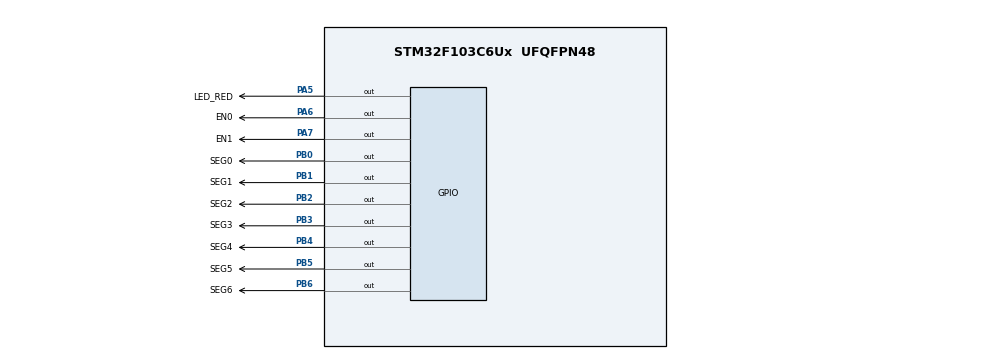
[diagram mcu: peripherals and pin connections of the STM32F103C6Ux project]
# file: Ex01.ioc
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Mcu.Family=STM32F1
Mcu.Name=STM32F103C6Ux
Mcu.Package=UFQFPN48
NVIC.PriorityGroup=NVIC_PRIORITYGROUP_4
NVIC.TIM2_IRQn=true\:0\:0\:false\:false\:true\:true\:true
PA5.GPIO_Label=LED_RED
PA5.Signal=GPIO_Output
PA6.GPIO_Label=EN0
PA6.Signal=GPIO_Output
PA7.GPIO_Label=EN1
PA7.Signal=GPIO_Output
PB0.GPIO_Label=SEG0
PB0.Signal=GPIO_Output
PB1.GPIO_Label=SEG1
PB1.Signal=GPIO_Output
PB2.GPIO_Label=SEG2
PB2.Signal=GPIO_Output
PB3.GPIO_Label=SEG3
PB3.Signal=GPIO_Output
PB4.GPIO_Label=SEG4
PB4.Signal=GPIO_Output
PB5.GPIO_Label=SEG5
PB5.Signal=GPIO_Output
PB6.GPIO_Label=SEG6
PB6.Signal=GPIO_Output
ProjectManager.HeapSize=0x200
ProjectManager.StackSize=0x400
ProjectManager.TargetToolchain=STM32CubeIDE
RCC.APB1Freq_Value=8000000
RCC.APB2Freq_Value=8000000
TIM2.Period=9
TIM2.Prescaler=7999
VP_SYS_VS_ND.Mode=No_Debug
VP_TIM2_VS_ClockSourceINT.Mode=Internal
board=custom

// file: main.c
/* USER CODE BEGIN Header */
/**
  ******************************************************************************
  * @file           : main.c
  * @brief          : Main program body
  ******************************************************************************
  * @attention
  *
  * <h2><center>&copy; Copyright (c) 2024 STMicroelectronics.
  * All rights reserved.</center></h2>
  *
  * This software component is licensed by ST under BSD 3-Clause license,
  * the "License"; You may not use this file except in compliance with the
  * License. You may obtain a copy of the License at:
  *                        opensource.org/licenses/BSD-3-Clause
  *
  ******************************************************************************
  */
/* USER CODE END Header */
#include "main.h"

TIM_HandleTypeDef htim2;
/* USER CODE BEGIN PV */
int led_buffer[2] = {1, 2};  // Store the numbers for two displays (1 and 2)
int current_display = 1;     // To track which display is currently active
int counter = 50;           // Timer counter for 0.5 second
/* USER CODE END PV */

void SystemClock_Config(void);
static void MX_GPIO_Init(void);
static void MX_TIM2_Init(void);
/* USER CODE BEGIN PFP */
void display7SEG(int);
void update7SEG(int);
/* USER CODE END PFP */

int main(void)
{

  /* MCU Configuration--------------------------------------------------------*/

  /* Reset of all peripherals, Initializes the Flash interface and the Systick. */
  HAL_Init();

  /* Configure the system clock */
  SystemClock_Config();

  /* Initialize all configured peripherals */
  MX_GPIO_Init();
  MX_TIM2_Init();
  /* USER CODE BEGIN 2 */
  HAL_TIM_Base_Start_IT(&htim2);
  /* USER CODE END 2 */

  /* Infinite loop */
  while (1)
  {

  }
}

void SystemClock_Config(void)
{
  RCC_OscInitTypeDef RCC_OscInitStruct = {0};
  RCC_ClkInitTypeDef RCC_ClkInitStruct = {0};

  /** Initializes the RCC Oscillators according to the specified parameters
  * in the RCC_OscInitTypeDef structure.
  */
  RCC_OscInitStruct.OscillatorType = RCC_OSCILLATORTYPE_HSI;
  RCC_OscInitStruct.HSIState = RCC_HSI_ON;
  RCC_OscInitStruct.HSICalibrationValue = RCC_HSICALIBRATION_DEFAULT;
  RCC_OscInitStruct.PLL.PLLState = RCC_PLL_NONE;
  if (HAL_RCC_OscConfig(&RCC_OscInitStruct) != HAL_OK)
  {
    Error_Handler();
  }
  /** Initializes the CPU, AHB and APB buses clocks
  */
  RCC_ClkInitStruct.ClockType = RCC_CLOCKTYPE_HCLK|RCC_CLOCKTYPE_SYSCLK
                              |RCC_CLOCKTYPE_PCLK1|RCC_CLOCKTYPE_PCLK2;
  RCC_ClkInitStruct.SYSCLKSource = RCC_SYSCLKSOURCE_HSI;
  RCC_ClkInitStruct.AHBCLKDivider = RCC_SYSCLK_DIV1;
  RCC_ClkInitStruct.APB1CLKDivider = RCC_HCLK_DIV1;
  RCC_ClkInitStruct.APB2CLKDivider = RCC_HCLK_DIV1;

  if (HAL_RCC_ClockConfig(&RCC_ClkInitStruct, FLASH_LATENCY_0) != HAL_OK)
  {
    Error_Handler();
  }
}

static void MX_TIM2_Init(void)
{

  TIM_ClockConfigTypeDef sClockSourceConfig = {0};
  TIM_MasterConfigTypeDef sMasterConfig = {0};

  htim2.Instance = TIM2;
  htim2.Init.Prescaler = 7999;
  htim2.Init.CounterMode = TIM_COUNTERMODE_UP;
  htim2.Init.Period = 9;
  htim2.Init.ClockDivision = TIM_CLOCKDIVISION_DIV1;
  htim2.Init.AutoReloadPreload = TIM_AUTORELOAD_PRELOAD_DISABLE;
  if (HAL_TIM_Base_Init(&htim2) != HAL_OK)
  {
    Error_Handler();
  }
  sClockSourceConfig.ClockSource = TIM_CLOCKSOURCE_INTERNAL;
  if (HAL_TIM_ConfigClockSource(&htim2, &sClockSourceConfig) != HAL_OK)
  {
    Error_Handler();
  }
  sMasterConfig.MasterOutputTrigger = TIM_TRGO_RESET;
  sMasterConfig.MasterSlaveMode = TIM_MASTERSLAVEMODE_DISABLE;
  if (HAL_TIMEx_MasterConfigSynchronization(&htim2, &sMasterConfig) != HAL_OK)
  {
    Error_Handler();
  }

}

static void MX_GPIO_Init(void)
{
  GPIO_InitTypeDef GPIO_InitStruct = {0};

  /* GPIO Ports Clock Enable */
  __HAL_RCC_GPIOA_CLK_ENABLE();
  __HAL_RCC_GPIOB_CLK_ENABLE();

  /*Configure GPIO pin Output Level */
  HAL_GPIO_WritePin(GPIOA, LED_RED_Pin|EN0_Pin|EN1_Pin, GPIO_PIN_RESET);

  /*Configure GPIO pin Output Level */
  HAL_GPIO_WritePin(GPIOB, SEG0_Pin|SEG1_Pin|SEG2_Pin|SEG3_Pin
                          |SEG4_Pin|SEG5_Pin|SEG6_Pin, GPIO_PIN_RESET);

  /*Configure GPIO pins : LED_RED_Pin EN0_Pin EN1_Pin */
  GPIO_InitStruct.Pin = LED_RED_Pin|EN0_Pin|EN1_Pin;
  GPIO_InitStruct.Mode = GPIO_MODE_OUTPUT_PP;
  GPIO_InitStruct.Pull = GPIO_NOPULL;
  GPIO_InitStruct.Speed = GPIO_SPEED_FREQ_LOW;
  HAL_GPIO_Init(GPIOA, &GPIO_InitStruct);

  /*Configure GPIO pins : SEG0_Pin SEG1_Pin SEG2_Pin SEG3_Pin
                           SEG4_Pin SEG5_Pin SEG6_Pin */
  GPIO_InitStruct.Pin = SEG0_Pin|SEG1_Pin|SEG2_Pin|SEG3_Pin
                          |SEG4_Pin|SEG5_Pin|SEG6_Pin;
  GPIO_InitStruct.Mode = GPIO_MODE_OUTPUT_PP;
  GPIO_InitStruct.Pull = GPIO_NOPULL;
  GPIO_InitStruct.Speed = GPIO_SPEED_FREQ_LOW;
  HAL_GPIO_Init(GPIOB, &GPIO_InitStruct);

}

/* USER CODE BEGIN 4 */
void HAL_TIM_PeriodElapsedCallback(TIM_HandleTypeDef *htim)
{
	if(htim->Instance == TIM2)
	{
	    counter--;
	    if(counter <= 0)
	    {
	      counter = 50;  // Reset counter for 0.5s
	      current_display = (current_display + 1) % 2;  // Switch between display 0 and 1
	      update7SEG(current_display);  // Update the display
	    }
	}
}
void update7SEG(int index)
{
  switch (index)
  {
    case 0:
      // Enable the first 7-segment display (turn on the transistor for the first display)
      HAL_GPIO_WritePin(GPIOA, EN0_Pin, GPIO_PIN_RESET);
      HAL_GPIO_WritePin(GPIOA, EN1_Pin, GPIO_PIN_SET);
      display7SEG(led_buffer[0]);  // Display number 1 on the first display
      break;

    case 1:
      // Enable the second 7-segment display (turn on the transistor for the second display)
      HAL_GPIO_WritePin(GPIOA, EN1_Pin, GPIO_PIN_RESET);
      HAL_GPIO_WritePin(GPIOA, EN0_Pin, GPIO_PIN_SET);
      display7SEG(led_buffer[1]);  // Display number 2 on the second display
      break;
  }
}
void display7SEG(int num)
{
  switch(num)
  {
    case 0:
      HAL_GPIO_WritePin(GPIOB, SEG0_Pin|SEG1_Pin|SEG2_Pin|SEG3_Pin|SEG4_Pin|SEG5_Pin, GPIO_PIN_RESET);
      HAL_GPIO_WritePin(GPIOB, SEG6_Pin, GPIO_PIN_SET);  // Display '0'
      break;
    case 1:
      HAL_GPIO_WritePin(GPIOB, SEG1_Pin|SEG2_Pin, GPIO_PIN_RESET);
      HAL_GPIO_WritePin(GPIOB, SEG0_Pin|SEG3_Pin|SEG4_Pin|SEG5_Pin|SEG6_Pin, GPIO_PIN_SET);  // Display '1'
      break;
    case 2:
      HAL_GPIO_WritePin(GPIOB, SEG0_Pin|SEG1_Pin|SEG3_Pin|SEG4_Pin|SEG6_Pin, GPIO_PIN_RESET);
      HAL_GPIO_WritePin(GPIOB, SEG2_Pin|SEG5_Pin, GPIO_PIN_SET);  // Display '2'
      break;
    // Add other numbers if needed
    default:
      break;
  }
}
/* USER CODE END 4 */

void Error_Handler(void)
{
  __disable_irq();
  while (1)
  {
  }
}

/************************ (C) COPYRIGHT STMicroelectronics *****END OF FILE****/
